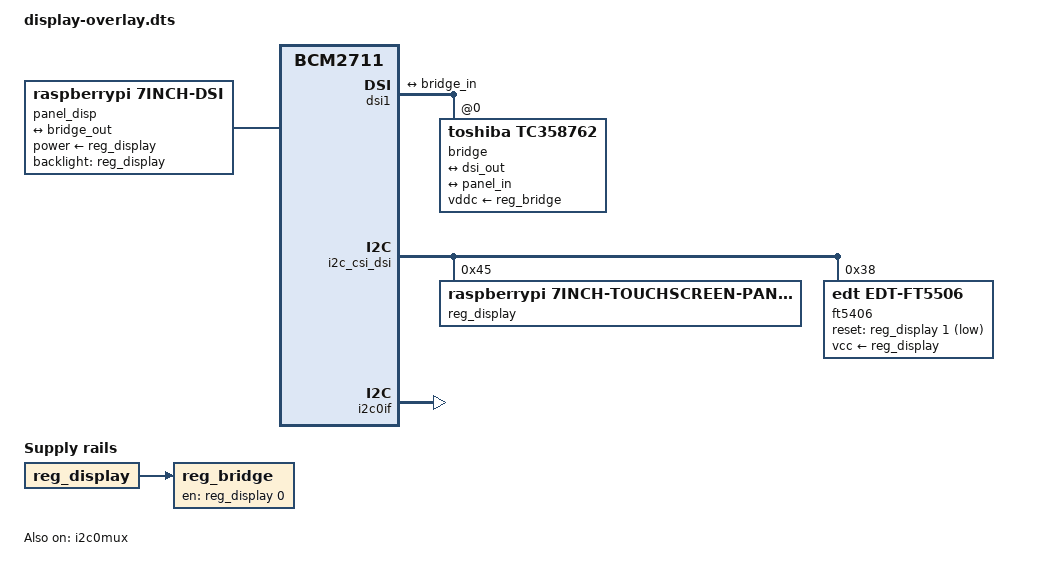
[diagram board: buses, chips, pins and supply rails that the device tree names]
/* Merged Device Tree Overlay For Raspberry Pi 7"
* created with ovmerge -p -s -t -T -w vc4-kms-dsi-7inch-overlay.dts
* Using https://github.com/raspberrypi/linux/commit/b073c38ceaa34d674e778197a327fb17cc4114b0
*/

/dts-v1/;
/plugin/;

/ {
	compatible = "brcm,bcm2711";
	dsi_frag: fragment@0 {
		target = <&dsi1>;
		__overlay__ {
			#address-cells = <1>;
			#size-cells = <0>;
			status = "okay";
			bridge@0 {
				compatible = "toshiba,tc358762";
				reg = <0>;
				vddc-supply = <&reg_bridge>;
				ports {
					#address-cells = <1>;
					#size-cells = <0>;
					port@0 {
						reg = <0>;
						bridge_in: endpoint {
							remote-endpoint = <&dsi_out>;
						};
					};
					port@1 {
						reg = <1>;
						bridge_out: endpoint {
							remote-endpoint = <&panel_in>;
						};
					};
				};
			};
			port {
				dsi_out: endpoint {
					remote-endpoint = <&bridge_in>;
				};
			};
		};
	};
	fragment@1 {
		target-path = "/";
		__overlay__ {
			panel_disp: panel_disp@1 {
				backlight = <&reg_display>;
				compatible = "raspberrypi,7inch-dsi", "simple-panel";
				power-supply = <&reg_display>;
				reg = <1>;
				port {
					panel_in: endpoint {
						remote-endpoint = <&bridge_out>;
					};
				};
			};
			reg_bridge: reg_bridge@1 {
				compatible = "regulator-fixed";
				enable-active-high;
				gpio = <&reg_display 0 0>;
				reg = <1>;
				regulator-name = "bridge_reg";
				vin-supply = <&reg_display>;
			};
		};
	};
	i2c_frag: fragment@2 {
		target = <&i2c_csi_dsi>;
		i2cbus: __overlay__ {
			#address-cells = <1>;
			#size-cells = <0>;
			status = "okay";
			reg_display: reg_display@45 {
				#gpio-cells = <2>;
				compatible = "raspberrypi,7inch-touchscreen-panel-regulator";
				gpio-controller;
				reg = <0x45>;
			};
		};
	};
	fragment@3 {
		target = <&i2c0if>;
		__overlay__ {
			status = "okay";
		};
	};
	fragment@4 {
		target = <&i2c0mux>;
		__overlay__ {
			status = "okay";
		};
	};
	fragment@5 {
		target = <&ft5406>;
		__overlay__ {
			touchscreen-inverted-x;
		};
	};
	fragment@6 {
		target = <&ft5406>;
		__overlay__ {
			touchscreen-inverted-y;
		};
	};
	fragment@7 {
		target = <&i2cbus>;
		__overlay__ {
			#address-cells = <1>;
			#size-cells = <0>;
			ft5406: ts@38 {
				compatible = "edt,edt-ft5506";
				reg = <0x38>;
				reset-gpio = <&reg_display 1 1>;
				touchscreen-size-x = <800>;
				touchscreen-size-y = <480>;
				vcc-supply = <&reg_display>;
			};
		};
	};
	__overrides__ {
		disable_touch = <&ft5406>, "status=disabled";
		dsi0 =  <&dsi_frag>, "target:0=", <&dsi0>,
				<&i2c_frag>, "target:0=", <&i2c_csi_dsi0>,
				<&panel_disp>, "reg:0=0",
				<&reg_bridge>, "reg:0=0",
				<&reg_bridge>, "regulator-name=bridge_reg_0";
		invx = <0>, "-5";
		invy = <0>, "-6";
		sizex = <&ft5406>, "touchscreen-size-x:0";
		sizey = <&ft5406>, "touchscreen-size-y:0";
		swapxy = <&ft5406>, "touchscreen-swapped-x-y?";
	};
};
